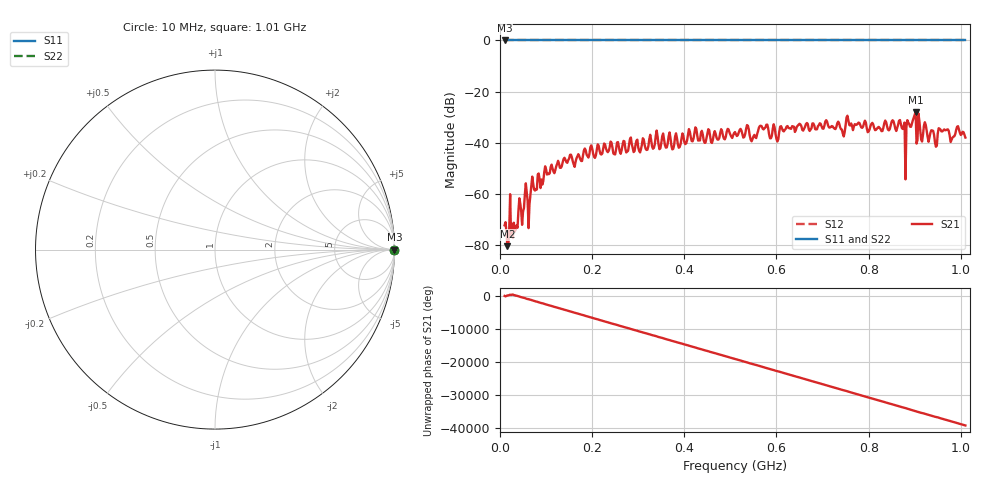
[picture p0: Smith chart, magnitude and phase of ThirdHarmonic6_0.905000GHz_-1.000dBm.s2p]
! 8/16/2025 5:39:48 AM
! C:\ANRITSUVNA\TEMP\TEMP.S2P
! CHANNEL.1
! TR.MEASUREMENT
! RAW.DATA
! RF.CORRECTION.OFF
! AVERAGING.OFF
! IF.BANDWIDTH: 5KHZ
! SWEEPTYPE:  FREQ.SWEEP(Linear)
! Reference Plane Port Info
! PORT:  PORT1  PORT2
! DISTANCE:  0  m  0  m
! TIME:  0  s  0  s
! PHASE.OFFSET:  0  deg.  0  deg.
! LOSS:  0  dB  0  dB
! REF.LOSS:  0  dB  0  dB
! REF.FREQ:  0  Hz  0  Hz
! Power Info
! POWER:  -20  dBm  -20  dBm
! EFF.POWER:  -20  dBm  -20  dBm
! SOURCE.ATTEN:  0  dB  0  dB
! TEST.ATTEN:  0  dB  0  dB
# GHZ S RI R 50.0
! FREQ.GHZ  S11RE  S11IM  S21RE  S21IM  S12RE  S12IM  S22RE  S22IM
!; PortSelection: Port_12
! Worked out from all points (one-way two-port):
!   501 points, 10 MHz to 1.01 GHz, reference 50 ohm
!   highest |S21| = -27.91 dB at 902 MHz (marker M1); lowest = -80.4 dB at 16 MHz (marker M2)
!   lowest |S11| = 0.0 dB at 10 MHz (marker M3)
!   |S11| at or under -10 dB: nowhere
!   |S22| runs from 0.0 to 0.0 dB; largest |S21 - S12| = 1
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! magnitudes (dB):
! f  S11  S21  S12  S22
! 10 MHz  0.0  -72.2  0.0  0.0
! 16 MHz  0.0  -80.4  0.0  0.0
! 26 MHz  0.0  -71.6  0.0  0.0
! 32 MHz  0.0  -74.7  0.0  0.0
! 56 MHz  0.0  -55.8  0.0  0.0
! 62 MHz  0.0  -73.3  0.0  0.0
! 70 MHz  0.0  -53.2  0.0  0.0
! 100 MHz  0.0  -50.3  0.0  0.0
! 178 MHz  0.0  -47.1  0.0  0.0
! 344 MHz  0.0  -40.6  0.0  0.0
! 510 MHz  0.0  -35.8  0.0  0.0
! 602 MHz  0.0  -39.5  0.0  0.0
! 678 MHz  0.0  -32.4  0.0  0.0
! 844 MHz  0.0  -35.1  0.0  0.0
! 868 MHz  0.0  -31.1  0.0  0.0
! 874 MHz  0.0  -34.6  0.0  0.0
! 876 MHz  0.0  -33.6  0.0  0.0
! 898 MHz  0.0  -30.1  0.0  0.0
! 902 MHz  0.0  -27.9  0.0  0.0
! 946 MHz  0.0  -41.5  0.0  0.0
! 956 MHz  0.0  -34.8  0.0  0.0
! 1.01 GHz  0.0  -37.9  0.0  0.0
